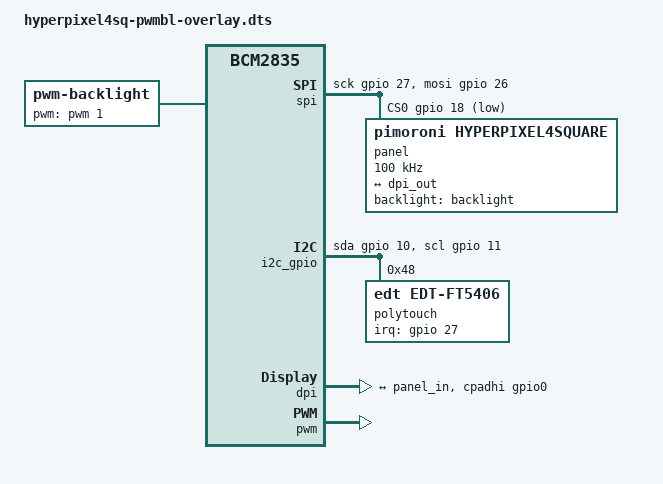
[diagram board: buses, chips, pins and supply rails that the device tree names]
/*
 * hyperpixel4sq-pwmbl-overlay.dts
 *
 * HyperPixel 4.0 Square with a dimmable backlight.
 *
 * The stock vc4-kms-dpi-hyperpixel4sq overlay wires the backlight as a
 * gpio-backlight on GPIO 19, which has max_brightness 1: on or off, nothing
 * between. GPIO 19 is PWM1 (Alt5) on BCM2835/2836/2837, so the same pin can
 * be driven as a PWM backlight instead, which is what this overlay does.
 *
 * It is a fork of the upstream overlay, flattened: the contents of
 * vc4-kms-dpi-hyperpixel.dtsi are inlined and the dt-bindings macros replaced
 * by their values, so this file compiles with dtc alone and needs no kernel
 * source tree. The macro values used are GPIO_ACTIVE_HIGH 0, GPIO_ACTIVE_LOW
 * 1, BCM2835_PUD_OFF 0 and BCM2835_PUD_UP 2.
 *
 * The PWM fragments follow Raspberry Pi's own implementation in
 * vc4-kms-dpi-panel-overlay.dts, including its sixteen gamma-spaced
 * brightness levels, rather than being invented here.
 *
 * TRADE-OFF: the Pi's analogue headphone output uses both PWM channels, so
 * claiming PWM1 disables it. That is what the bootargs fragment below states
 * explicitly, the same way the stock panel overlay does.
 *
 * Build and install:
 *   dtc -@ -I dts -O dtb -o hyperpixel4sq-pwmbl.dtbo hyperpixel4sq-pwmbl-overlay.dts
 *   sudo cp hyperpixel4sq-pwmbl.dtbo /boot/firmware/overlays/
 * The name is deliberately not one of the stock overlay names: the kernel
 * upgrade hook runs `rsync -ct` without --delete, so a file it does not ship
 * is left alone, while a same-named one would be overwritten every upgrade.
 */

/dts-v1/;
/plugin/;

/ {
	compatible = "brcm,bcm2835";

	fragment@0 {
		target-path = "/";
		__overlay__ {
			spi {
				compatible = "spi-gpio";
				#address-cells = <1>;
				#size-cells = <0>;
				pinctrl-0 = <&spi_pins>;
				pinctrl-names = "default";

				sck-gpios = <&gpio 27 0>;
				mosi-gpios = <&gpio 26 0>;
				cs-gpios = <&gpio 18 1>;
				num-chipselects = <1>;
				sck-idle-input;

				panel: display@0 {
					reg = <0>;
					/* 100 kHz */
					spi-max-frequency = <100000>;
					compatible = "pimoroni,hyperpixel4square";
					backlight = <&backlight>;
					rotation = <0>;

					port {
						panel_in: endpoint {
							remote-endpoint = <&dpi_out>;
						};
					};
				};
			};

			/*
			 * pwm-backlight rather than the stock gpio-backlight.
			 * Channel 1 is PWM1, which is the channel GPIO 19 maps
			 * to. 200000ns is a 5 kHz period, as upstream uses.
			 */
			backlight: backlight {
				compatible = "pwm-backlight";
				brightness-levels = <0 6 8 12 16 24 32 40
						     48 64 96 128 160 192 224 255>;
				/*
				 * brightness-levels above is indexed 0..15, so
				 * 15 is the top. Setting 16 here makes the
				 * kernel log "invalid default brightness level:
				 * 16, using 15" and clamp it.
				 */
				default-brightness-level = <15>;
				pwms = <&pwm 1 200000 0>;
			};
		};
	};

	fragment@1 {
		target = <&dpi>;
		__overlay__  {
			status = "okay";

			pinctrl-names = "default";
			pinctrl-0 = <&dpi_18bit_cpadhi_gpio0>;

			port {
				dpi_out: endpoint {
					remote-endpoint = <&panel_in>;
				};
			};
		};
	};

	fragment@2 {
		target = <&gpio>;
		__overlay__ {
			spi_pins: hyperpixel4_spi_pins {
				brcm,pins = <27 18 26>;
				brcm,pull = <2 2 0>;
				brcm,function = <0>;
			};
		};
	};

	fragment@3 {
		target-path = "/";
		__overlay__ {
			i2c_gpio: i2c@0 {
				compatible = "i2c-gpio";
				gpios = <&gpio 10 0 /* sda */
					 &gpio 11 0>; /* scl */
				i2c-gpio,delay-us = <4>;        /* ~100 kHz */
				#address-cells = <1>;
				#size-cells = <0>;
			};
		};
	};

	fragment@11 {
		target = <&i2c_gpio>;
		__overlay__ {
			polytouch: edt-ft5x06@48 {
				#address-cells = <1>;
				#size-cells = <0>;
				compatible = "edt,edt-ft5406";
				reg = <0x48>;
				interrupt-parent = <&gpio>;
				interrupts = <27 0x02>;
				touchscreen-size-x = <720>;
				touchscreen-size-y = <720>;
			};
		};
	};

	/* Turn the PWM block on and point it at the backlight pin. */
	fragment@12 {
		target = <&pwm>;
		__overlay__ {
			pinctrl-names = "default";
			pinctrl-0 = <&pwm_pins>;
			assigned-clock-rates = <1000000>;
			status = "okay";
		};
	};

	/* GPIO 19 in function 2 is Alt5, which is PWM1. */
	fragment@13 {
		target = <&gpio>;
		__overlay__ {
			pwm_pins: pwm_pins {
				brcm,pins = <19>;
				brcm,function = <2>;
			};
		};
	};

	/*
	 * Analogue audio drives both PWM channels, so it has to give up the
	 * one the backlight now uses. Without this the two fight over PWM1.
	 */
	fragment@14 {
		target = <&chosen>;
		__overlay__ {
			bootargs = "snd_bcm2835.enable_headphones=0";
		};
	};

	__overrides__ {
		rotate = <&panel>, "rotation:0";
		disable-touch = <0>,"-11";
		touchscreen-inverted-x = <&polytouch>,"touchscreen-inverted-x?";
		touchscreen-inverted-y = <&polytouch>,"touchscreen-inverted-y!";
		touchscreen-swapped-x-y = <&polytouch>,"touchscreen-swapped-x-y!";
		default-brightness = <&backlight>,"default-brightness-level:0";
	};
};
